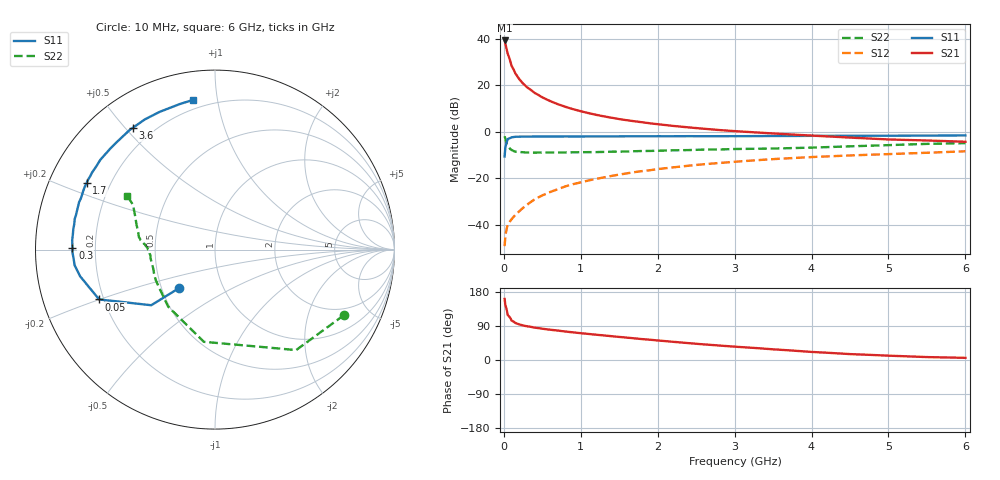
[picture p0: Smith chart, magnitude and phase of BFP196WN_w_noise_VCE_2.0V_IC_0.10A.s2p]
! Infineon Technologies  Discrete & RF Semiconductors
! BFP196WN
! VCE =  2.0 V,  IC = 0.10 A
! Common Emitter S-Parameters:  Jan 2017
# GHz  S  MA  R  50
!  f  S11  S21  S12  S22
! GHz  MAG  ANG  MAG  ANG  MAG  ANG  MAG  ANG
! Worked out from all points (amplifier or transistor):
!   77 points, 10 MHz to 6 GHz, reference 50 ohm
!   highest |S21| = 39.3 dB at 10 MHz (marker M1)
!   |S21| within 3 dB of that: start of sweep to 31.36 MHz
!   unconditionally stable (mu >= 1): 367.8 MHz to 2.913 GHz
!   at 130 MHz: K = 0.77, MSG = 31.5 dB, |S12| = -36.4 dB
!   at 2.2 GHz: K = 1.03, MAG = 7.9 dB, |S12| = -15.2 dB
!   at 6 GHz: K = 0.95, MSG = 2.0 dB, |S12| = -8.3 dB
!   lowest NFmin = 1.80 dB at 450 MHz
!   S11 on the Smith chart (normalised r, x): 10 MHz: 0.61, -0.29; 50 MHz: 0.18, -0.20; 300 MHz: 0.11, +0.01; 1.7 GHz: 0.11, +0.24; 3.6 GHz: 0.13, +0.52; 6 GHz: 0.15, +0.85
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0.01  0.2968 -133.2  92.61 161.2  0.0035 74.3  0.8056 -27.0
0.02  0.4715 -138.9  78.46 144.6  0.0058 63.7  0.7195 -51.1
0.05  0.7026 -156.7  48.1 118.5  0.0102 51.5  0.5175 -96.9
0.1  0.7661 -168.8  26.46 104.0  0.0132 56.2  0.4111 -129.3
0.15  0.7869 -173.6  18.1 97.7  0.0165 58.6  0.3778 -144.8
0.2  0.7901 -176.8  13.66 94.0  0.0196 64.2  0.3711 -153.0
0.25  0.7947 -179.0  10.98 91.1  0.0234 66.2  0.3657 -158.0
0.3  0.7944 179.2  9.173 89.1  0.027 68.1  0.3603 -162.3
0.4  0.7973 176.2  6.915 85.4  0.0354 71.0  0.3594 -166.8
0.5  0.7964 173.8  5.538 82.5  0.0432 71.0  0.3608 -170.0
0.6  0.7978 171.7  4.625 79.9  0.0509 72.1  0.3625 -172.5
0.7  0.7969 169.8  3.96 77.7  0.0586 72.8  0.3607 -174.3
0.8  0.8 167.7  3.47 75.1  0.0676 72.8  0.3617 -175.4
1.1  0.8001 162.4  2.539 68.8  0.0904 71.3  0.3678 -179.0
1.4  0.8016 157.3  2.022 62.8  0.1133 69.1  0.3761 178.9
1.7  0.806 152.5  1.695 57.1  0.1368 67.0  0.3851 177.2
2.1  0.8079 146.4  1.407 49.8  0.1659 63.6  0.3983 175.1
3.1  0.8116 131.4  1.017 33.9  0.2344 54.2  0.4314 169.9
3.6  0.8185 124.1  0.908 26.9  0.2659 49.6  0.4435 166.0
4.1  0.8238 117.0  0.819 20.2  0.2929 44.9  0.4659 160.7
5.1  0.8299 106.4  0.682 10.7  0.3382 36.9  0.5269 151.0
6  0.8422 98.5  0.615 5.7  0.384 30.8  0.5739 148.7
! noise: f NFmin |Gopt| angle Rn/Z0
0.45  1.8  0.6  -174  0.06
0.9  1.96  0.61  -167  0.08
1.9  2.98  0.71  -146  0.26
2.4  3.72  0.72  -137  0.44
